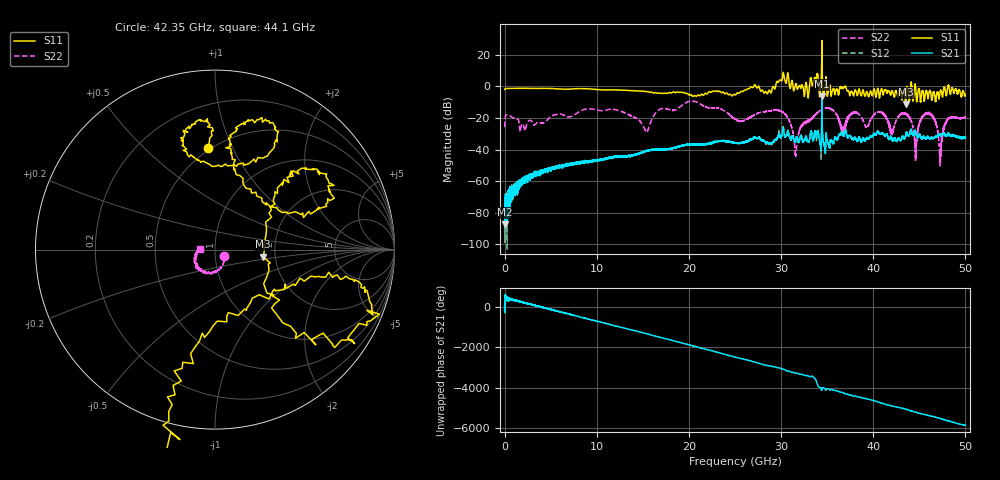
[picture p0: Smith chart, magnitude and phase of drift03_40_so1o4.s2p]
!Created with skrf (http://scikit-rf.org).
# Hz S RI R 50.0
!freq ReS11 ImS11 ReS21 ImS21 ReS12 ImS12 ReS22 ImS22
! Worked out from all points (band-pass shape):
!   10000 points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, 5.3 MHz to 50 GHz, reference 50 ohm
!   highest |S21| = -6.31 dB at 34.43 GHz (marker M1); lowest = -87.3 dB at 25.3 MHz (marker M2)
!   |S21| within 3 dB of the highest: 34.42758 GHz to 34.43503 GHz (7.446 MHz wide, 0.0216 % of centre)
!   lowest |S11| = -11.4 dB at 43.53 GHz (marker M3), VSWR 1.74, Z = 85.8 - j7.3 ohm
!   |S11| at or under -10 dB: 43.48969 GHz to 43.535 GHz (45.32 MHz wide, 0.104 % of centre); 43.53523 GHz to 43.5431 GHz (7.871 MHz wide, 0.0181 % of centre); 45.13987 GHz to 45.14017 GHz (294.6 kHz wide, 0.000653 % of centre)
!   |S22| runs from -50.4 to -9.4 dB; largest |S21 - S12| = 0.14
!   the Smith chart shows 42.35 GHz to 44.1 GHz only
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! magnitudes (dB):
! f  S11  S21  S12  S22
! 5.3 MHz  -2.1  -81.9  -90.3  -25.9
! 25.3 MHz  -1.9  -87.3  -94.0  -23.2
! 2.19 GHz  -1.3  -58.2  -59.8  -28.1
! 8.34 GHz  -1.5  -48.3  -48.2  -15.3
! 15.39 GHz  -3.4  -41.0  -40.9  -28.8
! 16.67 GHz  -4.4  -40.2  -40.2  -15.3
! 20.46 GHz  -6.5  -36.7  -36.8  -9.6
! 25.01 GHz  -5.5  -35.9  -36.0  -20.8
! 29.93 GHz  3.9  -32.5  -31.8  -15.6
! 31.59 GHz  1.4  -33.8  -33.9  -44.2
! 33.34 GHz  2.6  -30.2  -30.7  -20.4
! 34.43 GHz  28.9  -6.3  -8.1  -14.6
! 36.71 GHz  -1.3  -30.1  -30.0  -27.7
! 37.96 GHz  -3.7  -32.7  -32.7  -16.3
! 41.67 GHz  -3.0  -33.2  -33.2  -23.2
! 43.53 GHz  -11.4  -31.2  -31.3  -17.1
! 44.62 GHz  -2.1  -29.0  -29.5  -45.7
! 45.27 GHz  -3.9  -33.2  -33.2  -19.8
! 46.27 GHz  -5.3  -33.0  -32.8  -18.3
! 47.29 GHz  -3.0  -30.9  -30.8  -49.9
! 48.1 GHz  -0.1  -30.5  -30.4  -20.8
! 50 GHz  -5.2  -32.7  -32.1  -19.6
